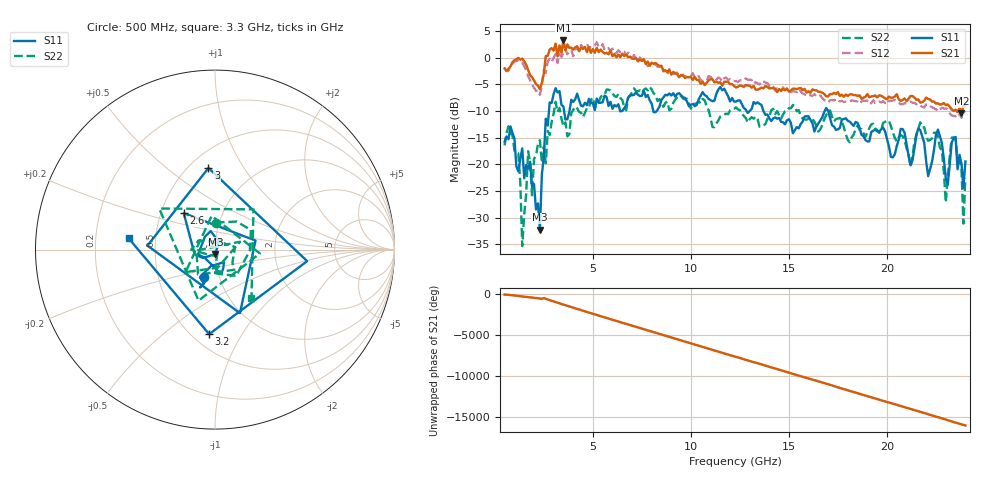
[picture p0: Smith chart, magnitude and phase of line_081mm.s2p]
!Created with skrf (http://scikit-rf.org).
# GHz S RI R 50.0
!freq ReS11 ImS11 ReS21 ImS21 ReS12 ImS12 ReS22 ImS22
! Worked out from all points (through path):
!   236 points, 500 MHz to 24 GHz, reference 50 ohm
!   highest |S21| = 3.23 dB at 3.5 GHz (marker M1); lowest = -10.5 dB at 23.8 GHz (marker M2)
!   lowest |S11| = -32.2 dB at 2.3 GHz (marker M3), VSWR 1.05, Z = 50.2 - j2.44 ohm
!   |S11| at or under -10 dB: start of sweep to 2.763 GHz; 13.7 GHz to 16.82 GHz (3.125 GHz wide, 20.5 % of centre); 17 GHz to end of sweep (the widest 3 of 7)
!   |S22| runs from -35.3 to -5.5 dB; largest |S21 - S12| = 2.5
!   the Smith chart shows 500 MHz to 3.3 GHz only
!   S11 on the Smith chart (normalised r, x): 500 MHz: 0.85, -0.26; 2.6 GHz: 0.65, +0.29; 3 GHz: 0.62, +0.71; 3.2 GHz: 0.60, -0.73; 3.3 GHz: 0.35, +0.06
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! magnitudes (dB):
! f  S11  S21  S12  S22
! 500 MHz  -15.7  -2.0  -1.9  -16.4
! 1.2 GHz  -21.3  0.0  -0.5  -17.9
! 1.4 GHz  -17.0  -0.2  -0.9  -35.3
! 1.7 GHz  -20.8  -2.3  -3.5  -17.5
! 1.9 GHz  -24.2  -3.7  -5.1  -25.8
! 2.3 GHz  -32.2  -5.9  -7.0  -15.5
! 2.6 GHz  -11.4  0.3  -2.9  -19.8
! 3 GHz  -6.8  1.3  0.0  -10.5
! 3.2 GHz  -6.5  0.3  -1.0  -10.2
! 3.3 GHz  -6.3  2.3  0.7  -9.4
! 3.5 GHz  -9.2  3.2  1.0  -12.9
! 4.5 GHz  -9.1  1.6  1.8  -11.1
! 8.4 GHz  -9.1  -1.5  -1.7  -7.8
! 12.3 GHz  -8.2  -5.6  -4.4  -9.3
! 16.2 GHz  -12.3  -5.9  -7.2  -11.5
! 20.1 GHz  -16.6  -7.3  -8.1  -11.8
! 22.5 GHz  -14.4  -8.6  -9.7  -14.1
! 23 GHz  -22.6  -8.9  -9.5  -27.1
! 23.3 GHz  -15.9  -9.7  -10.8  -15.0
! 23.8 GHz  -19.8  -10.5  -11.3  -20.8
! 23.9 GHz  -24.4  -9.0  -10.1  -31.1
! 24 GHz  -19.4  -9.0  -10.3  -22.6
